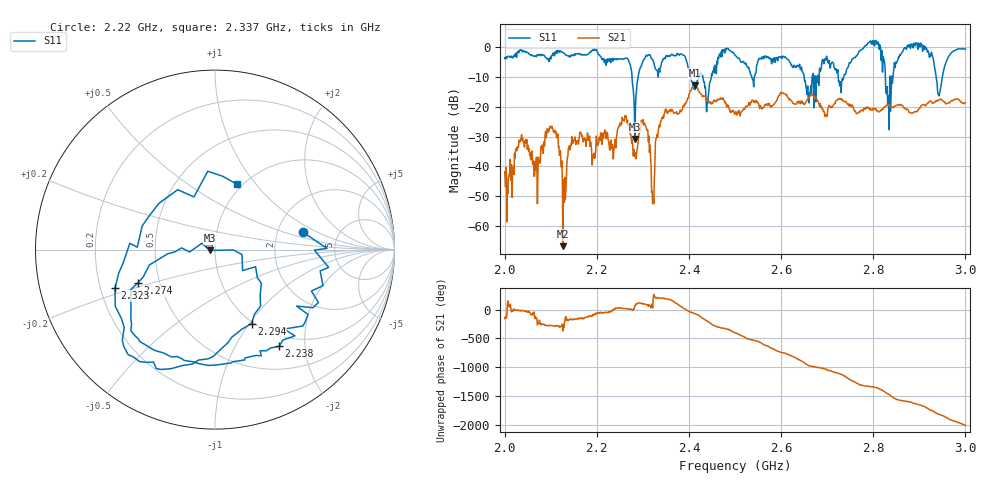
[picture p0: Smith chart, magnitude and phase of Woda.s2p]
! PocketVna 1.81  pocketvna.com
! Live measurements ((Reflection-S11, Transmission-S21) Logarithmic 2000000000-3000000000/801 calibrated)
# GHz S DB R 50
! GHz  dBS11  <S11  dBS21  <S21  dBS12  <S12  dBS22  <S22
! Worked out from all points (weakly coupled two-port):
!   801 points, 2 GHz to 3 GHz, reference 50 ohm
!   highest |S21| = -12.79 dB at 2.413 GHz (marker M1); lowest = -66.9 dB at 2.126 GHz (marker M2)
!   lowest |S11| = -30.8 dB at 2.283 GHz (marker M3), VSWR 1.06, Z = 47.2 - j0.437 ohm
!   |S11| at or under -10 dB: 2.404 GHz to 2.421 GHz (16.88 MHz wide, 0.7 % of centre); 2.43 GHz to 2.449 GHz (18.34 MHz wide, 0.752 % of centre); 2.65 GHz to 2.667 GHz (17 MHz wide, 0.639 % of centre) (the widest 3 of 15)
!   S12 and S22 are empty: the file has one direction only
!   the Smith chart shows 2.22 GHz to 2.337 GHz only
!   S11 on the Smith chart (normalised r, x): 2.22 GHz: 2.80, +0.72; 2.238 GHz: 0.83, -1.53; 2.274 GHz: 0.37, -0.18; 2.294 GHz: 0.98, -1.03; 2.323 GHz: 0.26, -0.17; 2.337 GHz: 0.95, +0.81
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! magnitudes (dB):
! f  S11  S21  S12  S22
! 2 GHz  -3.5  -41.9  -  -
! 2.036 GHz  -1.1  -31.3  -  -
! 2.068 GHz  -2.9  -41.3  -  -
! 2.101 GHz  -3.8  -27.2  -  -
! 2.126 GHz  -1.8  -66.9  -  -
! 2.167 GHz  -2.4  -29.0  -  -
! 2.22 GHz  -6.0  -30.7  -  -
! 2.238 GHz  -3.8  -33.5  -  -
! 2.274 GHz  -6.6  -29.3  -  -
! 2.283 GHz  -30.8  -36.8  -  -
! 2.294 GHz  -6.8  -28.0  -  -
! 2.323 GHz  -4.5  -50.3  -  -
! 2.334 GHz  -7.2  -27.1  -  -
! 2.337 GHz  -8.3  -26.7  -  -
! 2.413 GHz  -14.2  -12.8  -  -
! 2.501 GHz  -2.8  -21.9  -  -
! 2.667 GHz  -9.9  -15.6  -  -
! 2.804 GHz  2.3  -20.9  -  -
! 2.834 GHz  -27.7  -19.2  -  -
! 2.874 GHz  0.6  -20.8  -  -
! 2.943 GHz  -16.3  -17.5  -  -
! 3 GHz  -0.6  -18.6  -  -
